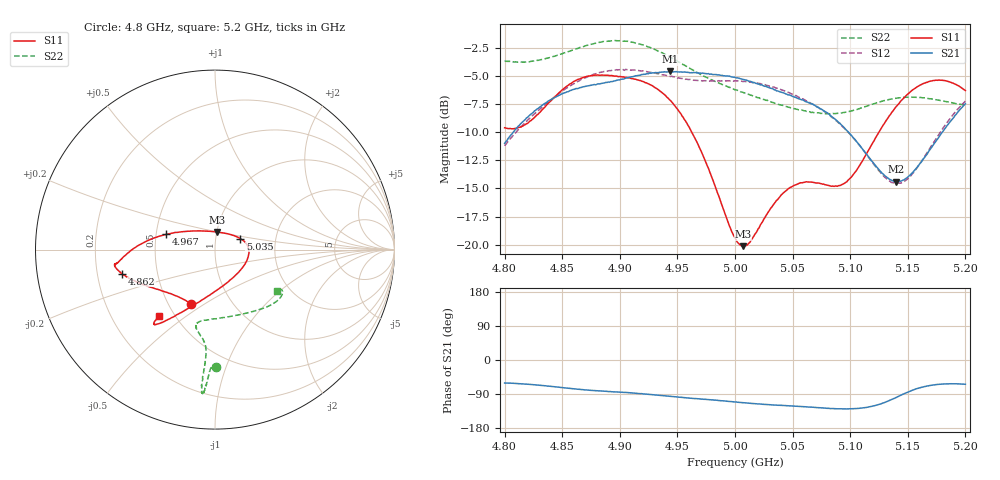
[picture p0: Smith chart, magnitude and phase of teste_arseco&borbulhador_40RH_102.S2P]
! Network Analyzer HP8722D
! Hewlett-Packard
! Data name: Linha & Wilkinson
! Saver's name: Rodrigo Anjos
! Comments: Teste da utilização de aquisição
! continua pelo VNA HP8722D
! Time and date: 15/4/2025 17:12
!  Frequency  S11  S21  S12  S22
# HZ  S  MA R 50
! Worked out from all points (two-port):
!   401 points, 4.8 GHz to 5.2 GHz, reference 50 ohm
!   highest |S21| = -4.62 dB at 4.944 GHz (marker M1); lowest = -14.4 dB at 5.14 GHz (marker M2)
!   |S21| within 3 dB of the highest: 4.833 GHz to 5.069 GHz (236.6 MHz wide, 4.78 % of centre); 5.19869 GHz to end of sweep
!   lowest |S11| = -20.1 dB at 5.007 GHz (marker M3), VSWR 1.22, Z = 50 + j9.92 ohm
!   |S11| at or under -10 dB: 4.962 GHz to 5.125 GHz (162.6 MHz wide, 3.22 % of centre)
!   |S22| runs from -8.4 to -1.9 dB; largest |S21 - S12| = 0.88
!   S11 on the Smith chart (normalised r, x): 4.8 GHz: 0.65, -0.44; 4.862 GHz: 0.31, -0.12; 4.967 GHz: 0.57, +0.10; 5.035 GHz: 1.32, +0.16; 5.2 GHz: 0.41, -0.40
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4.8e9  0.3305 -113.5  0.2818 -60.8  0.2749 -175.1  0.6544 -89.4
4.819e9  0.3442 -133.4  0.3653 -63.6  0.3521 -173.2  0.649 -91.2
4.862e9  0.5356 -165.5  0.4936 -76.5  0.526 -176.3  0.7394 -93.4
4.867e9  0.5492 -167.5  0.4995 -78.1  0.5422 -177.2  0.7532 -93.7
4.9e9  0.5575 -172.0  0.5391 -84.9  0.5977 176.0  0.8041 -95.0
4.934e9  0.485 -177.9  0.5813 -93.3  0.574 172.0  0.7195 -95.5
4.944e9  0.4361 177.7  0.5873 -96.1  0.5577 172.0  0.6782 -95.3
4.967e9  0.2851 162.7  0.5783 -102.0  0.5357 174.2  0.5818 -95.0
5e9  0.1077 107.5  0.5528 -110.9  0.534 176.6  0.4868 -99.1
5.007e9  0.09866 84.2  0.5418 -112.6  0.5295 176.6  0.4741 -100.8
5.013e9  0.1026 64.9  0.5313 -114.3  0.5264 176.4  0.4618 -102.2
5.035e9  0.1546 23.2  0.4866 -118.9  0.4972 175.3  0.4238 -103.9
5.049e9  0.1806 8.3  0.458 -121.0  0.4671 174.7  0.4056 -100.7
5.067e9  0.1898 -11.0  0.4212 -124.6  0.4223 174.1  0.3873 -91.9
5.087e9  0.1824 -43.4  0.3602 -128.3  0.3585 173.8  0.3821 -77.0
5.097e9  0.1902 -64.7  0.3217 -129.1  0.3211 174.5  0.3884 -68.5
5.134e9  0.3737 -116.0  0.1954 -107.1  0.1921 -159.7  0.4416 -43.4
5.14e9  0.4109 -119.5  0.1908 -98.7  0.1875 -150.5  0.4469 -40.6
5.151e9  0.4708 -124.0  0.2016 -83.5  0.1991 -133.0  0.4518 -36.5
5.17e9  0.5323 -128.4  0.2672 -66.8  0.2724 -112.9  0.4442 -32.0
5.184e9  0.5322 -129.8  0.3378 -63.0  0.3484 -107.2  0.4313 -31.0
5.2e9  0.4831 -130.3  0.4221 -64.0  0.4342 -106.0  0.4157 -33.4
